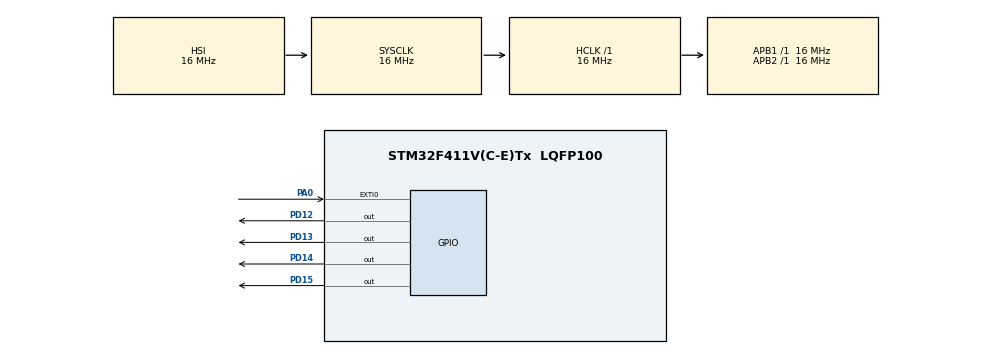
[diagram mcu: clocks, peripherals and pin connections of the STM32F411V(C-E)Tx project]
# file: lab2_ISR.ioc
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Mcu.Family=STM32F4
Mcu.Name=STM32F411V(C-E)Tx
Mcu.Package=LQFP100
NVIC.EXTI0_IRQn=true\:0\:0\:false\:false\:true\:true\:true\:true
NVIC.PriorityGroup=NVIC_PRIORITYGROUP_4
PA0-WKUP.Signal=GPXTI0
PD12.Signal=GPIO_Output
PD13.Signal=GPIO_Output
PD14.Signal=GPIO_Output
PD15.Signal=GPIO_Output
ProjectManager.HeapSize=0x200
ProjectManager.StackSize=0x400
ProjectManager.TargetToolchain=STM32CubeIDE
RCC.AHBFreq_Value=16000000
RCC.APB1Freq_Value=16000000
RCC.APB2Freq_Value=16000000
RCC.CortexFreq_Value=16000000
RCC.HSE_VALUE=25000000
RCC.HSI_VALUE=16000000
RCC.LSE_VALUE=32768
RCC.SYSCLKFreq_VALUE=16000000
RCC.VCOOutputFreq_Value=192000000
board=custom

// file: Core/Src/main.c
/* USER CODE BEGIN Header */
/**
  ******************************************************************************
  * @file           : main.c
  * @brief          : Main program body
  ******************************************************************************
  * @attention
  *
  * Copyright (c) 2025 STMicroelectronics.
  * All rights reserved.
  *
  * This software is licensed under terms that can be found in the LICENSE file
  * in the root directory of this software component.
  * If no LICENSE file comes with this software, it is provided AS-IS.
  *
  ******************************************************************************
  */
/* USER CODE END Header */
#include "main.h"

void SystemClock_Config(void);
static void MX_GPIO_Init(void);

/* USER CODE BEGIN 0 */
volatile int blinkState = 0;
volatile int lastISR = 0;

void HAL_GPIO_EXTI_Callback(uint16_t GPIO_Pin)
{
	if(HAL_GetTick() - lastISR >= 200)
	{
		lastISR = HAL_GetTick();
		if (GPIO_Pin == GPIO_PIN_0)
		{
			blinkState++;
			if(blinkState >= 3)
			{
				blinkState = 0;
			}
		}
	}
}

/* USER CODE END 0 */

int main(void)
{

  /* MCU Configuration--------------------------------------------------------*/

  /* Reset of all peripherals, Initializes the Flash interface and the Systick. */
  HAL_Init();

  /* Configure the system clock */
  SystemClock_Config();

  /* Initialize all configured peripherals */
  MX_GPIO_Init();

  /* Infinite loop */
  /* USER CODE BEGIN WHILE */

  while (1)
  {
	  switch (blinkState) {
		case 0:
			HAL_GPIO_WritePin(GPIOD, GPIO_PIN_12|GPIO_PIN_13|GPIO_PIN_14|GPIO_PIN_15, 0);
			HAL_Delay(500);
			HAL_GPIO_WritePin(GPIOD, GPIO_PIN_12, 1);
			HAL_Delay(500);
			break;

		case 1:
			HAL_GPIO_WritePin(GPIOD, GPIO_PIN_13|GPIO_PIN_14|GPIO_PIN_15, 0);
			HAL_GPIO_WritePin(GPIOD, GPIO_PIN_12, 1);
			HAL_Delay(250);

			HAL_GPIO_WritePin(GPIOD, GPIO_PIN_12|GPIO_PIN_14|GPIO_PIN_15, 0);
			HAL_GPIO_WritePin(GPIOD, GPIO_PIN_13, 1);
			HAL_Delay(250);

			HAL_GPIO_WritePin(GPIOD, GPIO_PIN_12|GPIO_PIN_13|GPIO_PIN_15, 0);
			HAL_GPIO_WritePin(GPIOD, GPIO_PIN_14, 1);
			HAL_Delay(250);

			HAL_GPIO_WritePin(GPIOD, GPIO_PIN_12|GPIO_PIN_13|GPIO_PIN_14, 0);
			HAL_GPIO_WritePin(GPIOD, GPIO_PIN_15, 1);
			HAL_Delay(250);
			break;

		case 2:
			HAL_GPIO_WritePin(GPIOD, GPIO_PIN_12|GPIO_PIN_13|GPIO_PIN_14|GPIO_PIN_15, 0);
			HAL_Delay(250);
			HAL_GPIO_WritePin(GPIOD, GPIO_PIN_12|GPIO_PIN_13|GPIO_PIN_14|GPIO_PIN_15, 1);
			HAL_Delay(250);
			break;

		default:
			break;
	}
    /* USER CODE END WHILE */

  }
}

void SystemClock_Config(void)
{
  RCC_OscInitTypeDef RCC_OscInitStruct = {0};
  RCC_ClkInitTypeDef RCC_ClkInitStruct = {0};

  /** Configure the main internal regulator output voltage
  */
  __HAL_RCC_PWR_CLK_ENABLE();
  __HAL_PWR_VOLTAGESCALING_CONFIG(PWR_REGULATOR_VOLTAGE_SCALE1);

  /** Initializes the RCC Oscillators according to the specified parameters
  * in the RCC_OscInitTypeDef structure.
  */
  RCC_OscInitStruct.OscillatorType = RCC_OSCILLATORTYPE_HSI;
  RCC_OscInitStruct.HSIState = RCC_HSI_ON;
  RCC_OscInitStruct.HSICalibrationValue = RCC_HSICALIBRATION_DEFAULT;
  RCC_OscInitStruct.PLL.PLLState = RCC_PLL_NONE;
  if (HAL_RCC_OscConfig(&RCC_OscInitStruct) != HAL_OK)
  {
    Error_Handler();
  }

  /** Initializes the CPU, AHB and APB buses clocks
  */
  RCC_ClkInitStruct.ClockType = RCC_CLOCKTYPE_HCLK|RCC_CLOCKTYPE_SYSCLK
                              |RCC_CLOCKTYPE_PCLK1|RCC_CLOCKTYPE_PCLK2;
  RCC_ClkInitStruct.SYSCLKSource = RCC_SYSCLKSOURCE_HSI;
  RCC_ClkInitStruct.AHBCLKDivider = RCC_SYSCLK_DIV1;
  RCC_ClkInitStruct.APB1CLKDivider = RCC_HCLK_DIV1;
  RCC_ClkInitStruct.APB2CLKDivider = RCC_HCLK_DIV1;

  if (HAL_RCC_ClockConfig(&RCC_ClkInitStruct, FLASH_LATENCY_0) != HAL_OK)
  {
    Error_Handler();
  }
}

static void MX_GPIO_Init(void)
{
  GPIO_InitTypeDef GPIO_InitStruct = {0};

  /* GPIO Ports Clock Enable */
  __HAL_RCC_GPIOA_CLK_ENABLE();
  __HAL_RCC_GPIOD_CLK_ENABLE();

  /*Configure GPIO pin Output Level */
  HAL_GPIO_WritePin(GPIOD, GPIO_PIN_12|GPIO_PIN_13|GPIO_PIN_14|GPIO_PIN_15, GPIO_PIN_RESET);

  /*Configure GPIO pin : PA0 */
  GPIO_InitStruct.Pin = GPIO_PIN_0;
  GPIO_InitStruct.Mode = GPIO_MODE_IT_RISING;
  GPIO_InitStruct.Pull = GPIO_NOPULL;
  HAL_GPIO_Init(GPIOA, &GPIO_InitStruct);

  /*Configure GPIO pins : PD12 PD13 PD14 PD15 */
  GPIO_InitStruct.Pin = GPIO_PIN_12|GPIO_PIN_13|GPIO_PIN_14|GPIO_PIN_15;
  GPIO_InitStruct.Mode = GPIO_MODE_OUTPUT_PP;
  GPIO_InitStruct.Pull = GPIO_NOPULL;
  GPIO_InitStruct.Speed = GPIO_SPEED_FREQ_LOW;
  HAL_GPIO_Init(GPIOD, &GPIO_InitStruct);

  /* EXTI interrupt init*/
  HAL_NVIC_SetPriority(EXTI0_IRQn, 0, 0);
  HAL_NVIC_EnableIRQ(EXTI0_IRQn);

}

void Error_Handler(void)
{
  __disable_irq();
  while (1)
  {
  }
}
